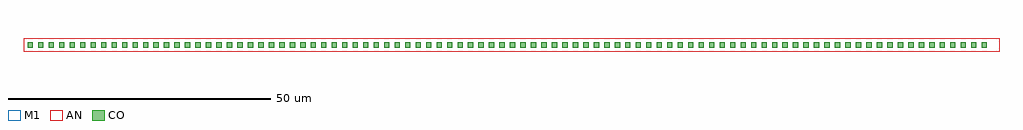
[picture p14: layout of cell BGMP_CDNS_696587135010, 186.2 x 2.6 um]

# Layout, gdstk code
import gdstk
lib = gdstk.Library(unit=1e-6, precision=1e-09)
def R(c, l, rs):  # rectangles x0, y0, x1, y1
    for r in rs: c.add(gdstk.rectangle(r[:2], r[2:], *l))
def A(c, l, x, y, w, h, nx, ny, dx, dy):  # array of equal rectangles
    R(c, l, [(x+i*dx, y+j*dy, x+i*dx+w, y+j*dy+h) for i in range(nx) for j in range(ny)])
AN = (3, 2)
CO = (11, 0)
M1 = (13, 0)

bgmp_cdns_696587135010 = lib.new_cell('BGMP_CDNS_696587135010')
R(bgmp_cdns_696587135010, AN, [(0,0,186.2,2.6)])
A(bgmp_cdns_696587135010, CO, 0.8, 0.8, 1, 1, 92, 1, 2, 0)
R(bgmp_cdns_696587135010, M1, [(0,0,186.2,2.6)])

lib.write_gds('BGMP_CDNS_696587135010.gds')
